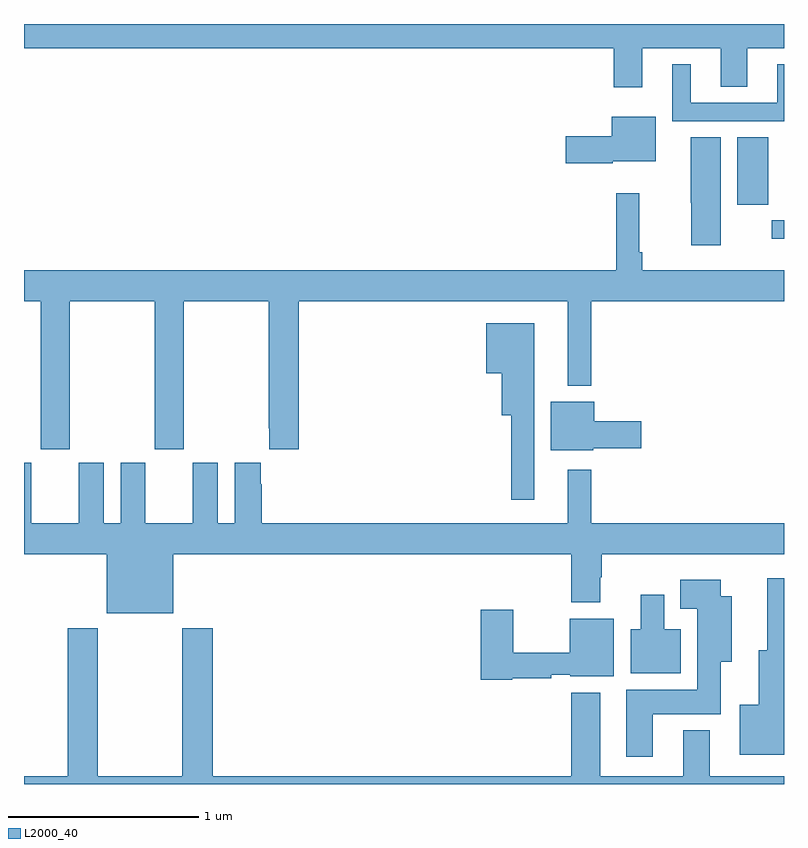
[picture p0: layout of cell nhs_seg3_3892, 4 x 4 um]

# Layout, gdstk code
import gdstk
lib = gdstk.Library(unit=1e-6, precision=1e-09)
def R(c, l, rs):  # rectangles x0, y0, x1, y1
    for r in rs: c.add(gdstk.rectangle(r[:2], r[2:], *l))
def P(c, l, *ps):  # polygons
    for p in ps: c.add(gdstk.Polygon(p, *l))
L2000_40 = (2000, 40)

nhs_seg3_3892 = lib.new_cell('nhs_seg3_3892')
R(nhs_seg3_3892, L2000_40, [(316.935,677.27,317,677.367), (316.754,677.448,316.918,677.804)])
P(nhs_seg3_3892, L2000_40, [(316.255,678.272),(316.667,678.272),(316.667,678.07),(316.807,678.07),(316.807,678.272),(317,678.272),(317,678.4),(313,678.4),(313,678.272),(316.103,678.272),(316.103,678.066),(316.255,678.066)],
  [(317,678.187),(316.964,678.187),(316.964,677.985),(316.51,677.985),(316.51,678.187),(316.412,678.187),(316.412,677.889),(317,677.889)],
  [(316.098,677.678),(316.324,677.678),(316.324,677.911),(316.094,677.911),(316.094,677.808),(315.852,677.808),(315.852,677.666),(316.098,677.666)],
  [(316.666,677.804),(316.508,677.804),(316.508,677.46),(316.511,677.46),(316.511,677.235),(316.666,677.235)],
  [(313.242,676.94),(313.687,676.94),(313.687,676.161),(313.842,676.161),(313.842,676.94),(314.287,676.94),(314.287,676.273),(314.291,676.273),(314.291,676.161),(314.447,676.161),(314.447,676.94),(315.863,676.94),(315.863,676.496),(315.985,676.496),(315.985,676.94),(317,676.94),(317,677.104),(316.253,677.104),(316.253,677.2),(316.238,677.2),(316.238,677.509),(316.117,677.509),(316.117,677.104),(313,677.104),(313,676.94),(313.087,676.94),(313.087,676.161),(313.242,676.161)],
  [(315.685,676.825),(315.434,676.825),(315.434,676.562),(315.515,676.562),(315.515,676.34),(315.564,676.34),(315.564,675.897),(315.685,675.897)],
  [(315.996,676.168),(316.249,676.168),(316.249,676.31),(316,676.31),(316,676.411),(315.773,676.411),(315.773,676.157),(315.996,676.157)],
  [(313.786,675.608),(315.881,675.608),(315.881,675.356),(316.033,675.356),(316.033,675.488),(316.041,675.488),(316.041,675.608),(317,675.608),(317,675.772),(315.985,675.772),(315.985,676.054),(315.863,676.054),(315.863,675.772),(314.252,675.772),(314.252,675.977),(314.245,675.977),(314.245,676.09),(314.108,676.09),(314.108,675.772),(314.02,675.772),(314.02,676.09),(313.889,676.09),(313.889,675.772),(313.639,675.772),(313.639,676.09),(313.508,676.09),(313.508,675.772),(313.42,675.772),(313.42,676.09),(313.289,676.09),(313.289,675.772),(313.039,675.772),(313.039,676.09),(313,676.09),(313,675.608),(313.436,675.608),(313.436,675.299),(313.786,675.299)],
  [(317,675.484),(316.913,675.484),(316.913,675.103),(316.868,675.103),(316.868,674.818),(316.766,674.818),(316.766,674.555),(317,674.555)],
  [(316.309,674.768),(316.666,674.768),(316.666,675.044),(316.726,675.044),(316.726,675.388),(316.666,675.388),(316.666,675.475),(316.454,675.475),(316.454,675.323),(316.544,675.323),(316.544,674.896),(316.169,674.896),(316.169,674.544),(316.309,674.544)],
  [(316.456,675.214),(316.369,675.214),(316.369,675.397),(316.247,675.397),(316.247,675.214),(316.193,675.214),(316.193,674.984),(316.456,674.984)],
  [(315.57,674.956),(315.776,674.956),(315.776,674.976),(315.876,674.976),(315.876,674.966),(316.105,674.966),(316.105,675.271),(315.872,675.271),(315.872,675.092),(315.574,675.092),(315.574,675.316),(315.404,675.316),(315.404,674.948),(315.57,674.948)],
  [(317,674.44),(316.609,674.44),(316.609,674.683),(316.469,674.683),(316.469,674.44),(316.033,674.44),(316.033,674.881),(315.881,674.881),(315.881,674.44),(313.994,674.44),(313.994,675.22),(313.834,675.22),(313.834,674.44),(313.389,674.44),(313.389,675.22),(313.229,675.22),(313.229,674.44),(313,674.44),(313,674.4),(317,674.4)])

lib.write_gds('nhs_seg3_3892.gds')
